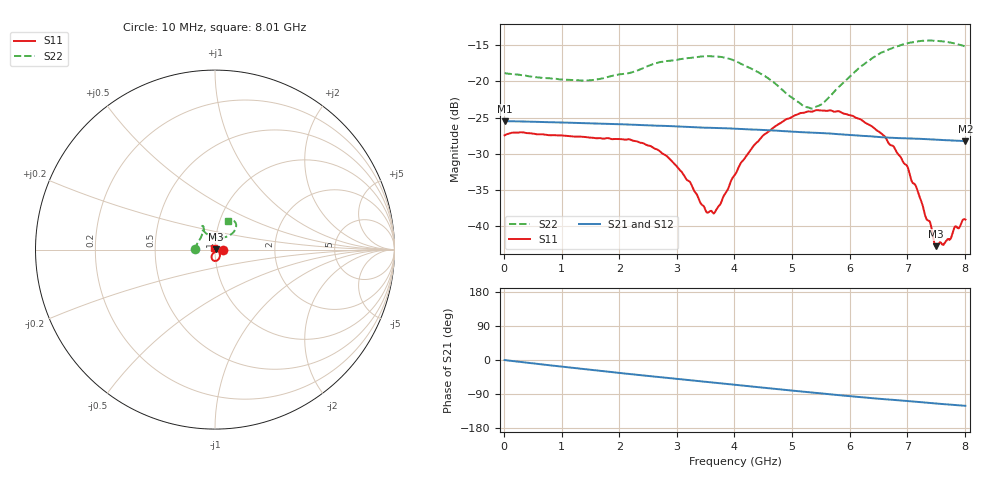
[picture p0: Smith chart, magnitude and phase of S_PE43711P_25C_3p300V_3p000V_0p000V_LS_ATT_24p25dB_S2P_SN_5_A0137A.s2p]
! Device ID: PE43711P
! File Path: z:\PE43711P\CHAR_NOM_04282014\AMB\3p300\LS_ATT_24p25dB\PE43711P_AMB_3p300V_3p000V_0p000V_LS_ATT_24p25dB_S2P_SN_5_A0137A.s2p
! Serial: 5
! Lot: A0137A
! Temp: 25C
! VDD: 3.300
! VSS: 0.000
! Control_Hi: 3.000
! Control_Lo: 0.000
! Attenuation Step: 24.25dB
! Port 1: RF1
! Port 2: RF2
! ThroughPath:1-2
! IDD: 0.0001272182
! ISS: -4.48e-008
#  Hz  S  RI  R  50
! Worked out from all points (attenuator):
!   801 points, 10 MHz to 8.01 GHz, reference 50 ohm
!   highest |S21| = -25.49 dB at 20 MHz (marker M1); lowest = -28.2 dB at 8.01 GHz (marker M2)
!   lowest |S11| = -42.7 dB at 7.5 GHz (marker M3), VSWR 1.01, Z = 50.6 + j0.424 ohm
!   |S11| at or under -10 dB: start of sweep to end of sweep
!   |S22| runs from -23.7 to -14.3 dB; largest |S21 - S12| = 0.00013
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1e7  0.0425 0.000309  0.0531 -0.00021  0.0532 -0.000226  -0.1142 0.000896
2e7  0.0427 0.00036  0.0531 -0.000338  0.0532 -0.000343  -0.1138 0.00148
1.35e9  0.0403 -0.00994  0.0475 -0.0204  0.0475 -0.0204  -0.0869 0.052
2.18e9  0.0384 -0.0106  0.0402 -0.0303  0.0403 -0.0303  -0.0659 0.0935
2.68e9  0.0326 -0.00805  0.0351 -0.0348  0.0352 -0.0348  -0.0628 0.1197
3.07e9  0.023 -0.00729  0.0307 -0.038  0.0307 -0.038  -0.0641 0.1275
3.54e9  0.00631 -0.0107  0.0253 -0.0407  0.0253 -0.0407  -0.0704 0.1318
3.68e9  0.00106 -0.0129  0.0237 -0.0414  0.0237 -0.0414  -0.0725 0.1299
4.01e9  -0.0099 -0.0205  0.0195 -0.043  0.0195 -0.043  -0.0739 0.1172
4.52e9  -0.0188 -0.0387  0.0132 -0.0443  0.0132 -0.0443  -0.0544 0.0949
4.9e9  -0.0165 -0.0523  0.00849 -0.0445  0.00844 -0.0445  -0.0303 0.0769
5.35e9  -0.00571 -0.0616  0.00326 -0.0442  0.00329 -0.0443  0.0101 0.0642
5.54e9  0.00118 -0.063  0.00105 -0.044  0.00105 -0.0439  0.0304 0.0641
6.05e9  0.0189 -0.0548  -0.00452 -0.0424  -0.00455 -0.0423  0.0805 0.0788
6.4e9  0.0259 -0.0411  -0.00788 -0.041  -0.00788 -0.041  0.1056 0.0996
6.68e9  0.0263 -0.0265  -0.0101 -0.0397  -0.0101 -0.0397  0.1155 0.1199
7e9  0.0228 -0.0126  -0.0126 -0.0385  -0.0125 -0.0385  0.1178 0.1397
7.39e9  0.0107 0.00184  -0.0158 -0.0366  -0.0158 -0.0366  0.1058 0.1597
7.5e9  0.00598 0.00419  -0.0166 -0.036  -0.0166 -0.036  0.0999 0.1623
7.73e9  -0.00214 0.00778  -0.0182 -0.0348  -0.0182 -0.0348  0.0864 0.1646
7.83e9  -0.00464 0.00882  -0.0188 -0.0342  -0.0188 -0.0342  0.081 0.1636
8.01e9  -0.00784 0.00792  -0.0199 -0.0332  -0.02 -0.0332  0.0726 0.1581
